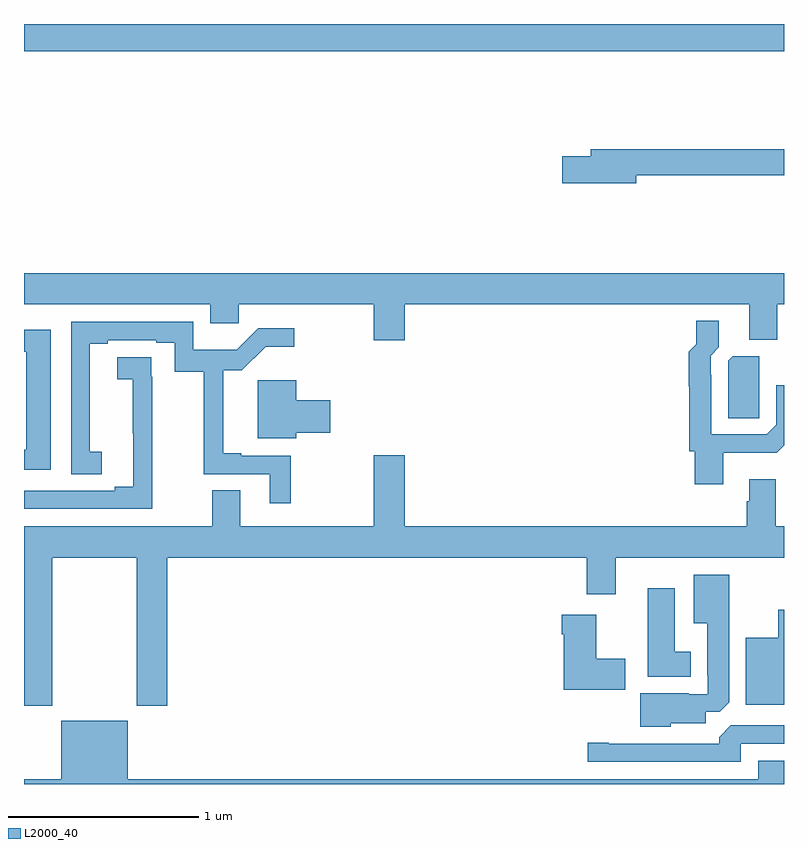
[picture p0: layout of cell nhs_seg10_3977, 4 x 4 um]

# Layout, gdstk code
import gdstk
lib = gdstk.Library(unit=1e-6, precision=1e-09)
def R(c, l, rs):  # rectangles x0, y0, x1, y1
    for r in rs: c.add(gdstk.rectangle(r[:2], r[2:], *l))
def P(c, l, *ps):  # polygons
    for p in ps: c.add(gdstk.Polygon(p, *l))
L2000_40 = (2000, 40)

nhs_seg10_3977 = lib.new_cell('nhs_seg10_3977')
R(nhs_seg10_3977, L2000_40, [(331,1260.356,335,1260.5)])
P(nhs_seg10_3977, L2000_40, [(334.222,1259.704),(335,1259.704),(335,1259.84),(333.983,1259.84),(333.983,1259.804),(333.834,1259.804),(333.834,1259.662),(334.222,1259.662)],
  [(333.004,1259.024),(334.817,1259.024),(334.817,1258.837),(334.965,1258.837),(334.965,1259.024),(335,1259.024),(335,1259.188),(331,1259.188),(331,1259.024),(331.979,1259.024),(331.979,1258.926),(332.131,1258.926),(332.131,1259.024),(332.84,1259.024),(332.84,1258.836),(333.004,1258.836)],
  [(334.681,1258.244),(334.961,1258.244),(335,1258.283),(335,1258.6),(334.959,1258.6),(334.959,1258.392),(334.908,1258.341),(334.617,1258.341),(334.617,1258.655),(334.614,1258.655),(334.614,1258.755),(334.657,1258.798),(334.657,1258.939),(334.537,1258.939),(334.537,1258.815),(334.499,1258.776),(334.499,1258.594),(334.501,1258.594),(334.501,1258.251),(334.529,1258.251),(334.529,1258.077),(334.681,1258.077)],
  [(332.404,1258.227),(332.143,1258.227),(332.143,1258.24),(332.048,1258.24),(332.048,1258.677),(332.147,1258.677),(332.273,1258.802),(332.422,1258.802),(332.422,1258.899),(332.232,1258.899),(332.119,1258.786),(331.89,1258.786),(331.89,1258.932),(331.248,1258.932),(331.248,1258.129),(331.408,1258.129),(331.408,1258.249),(331.347,1258.249),(331.347,1258.553),(331.345,1258.553),(331.345,1258.816),(331.441,1258.816),(331.441,1258.836),(331.697,1258.836),(331.697,1258.822),(331.794,1258.822),(331.794,1258.669),(331.945,1258.669),(331.945,1258.131),(332.294,1258.131),(332.294,1257.978),(332.404,1257.978)],
  [(331.141,1258.891),(331,1258.891),(331,1258.776),(331.013,1258.776),(331.013,1258.26),(331,1258.26),(331,1258.155),(331.141,1258.155)],
  [(334.869,1258.537),(334.87,1258.537),(334.87,1258.752),(334.731,1258.752),(334.707,1258.728),(334.707,1258.426),(334.869,1258.426)],
  [(331.676,1258.643),(331.67,1258.643),(331.67,1258.745),(331.491,1258.745),(331.491,1258.63),(331.573,1258.63),(331.573,1258.347),(331.574,1258.347),(331.574,1258.064),(331.478,1258.064),(331.478,1258.044),(331,1258.044),(331,1257.948),(331.676,1257.948)],
  [(332.434,1258.349),(332.611,1258.349),(332.611,1258.519),(332.434,1258.519),(332.434,1258.624),(332.231,1258.624),(332.231,1258.319),(332.434,1258.319)],
  [(331.149,1257.692),(331.594,1257.692),(331.594,1256.913),(331.754,1256.913),(331.754,1257.692),(333.962,1257.692),(333.962,1257.498),(334.114,1257.498),(334.114,1257.692),(335,1257.692),(335,1257.856),(334.957,1257.856),(334.957,1258.105),(334.817,1258.105),(334.817,1257.989),(334.805,1257.989),(334.805,1257.856),(333.004,1257.856),(333.004,1258.231),(332.84,1258.231),(332.84,1257.856),(332.137,1257.856),(332.137,1258.046),(331.99,1258.046),(331.99,1257.856),(331,1257.856),(331,1256.913),(331.149,1256.913)],
  [(334.404,1256.819),(334.588,1256.819),(334.588,1256.88),(334.662,1256.88),(334.711,1256.929),(334.711,1257.601),(334.526,1257.601),(334.526,1257.347),(334.595,1257.347),(334.595,1257.073),(334.599,1257.073),(334.599,1256.973),(334.499,1256.973),(334.499,1256.977),(334.244,1256.977),(334.244,1256.801),(334.404,1256.801)],
  [(334.51,1257.196),(334.426,1257.196),(334.426,1257.529),(334.283,1257.529),(334.283,1257.065),(334.51,1257.065)],
  [(335,1257.418),(334.97,1257.418),(334.97,1257.271),(334.799,1257.271),(334.799,1256.918),(335,1256.918)],
  [(334.165,1257.159),(334.012,1257.159),(334.012,1257.391),(333.83,1257.391),(333.83,1257.287),(333.842,1257.287),(333.842,1256.996),(334.165,1256.996)],
  [(335,1256.623),(334.865,1256.623),(334.865,1256.524),(331.546,1256.524),(331.546,1256.833),(331.196,1256.833),(331.196,1256.524),(331,1256.524),(331,1256.5),(335,1256.5)],
  [(334.773,1256.712),(335,1256.712),(335,1256.808),(334.719,1256.808),(334.658,1256.746),(334.658,1256.712),(334.078,1256.712),(334.078,1256.717),(333.966,1256.717),(333.966,1256.616),(334.773,1256.616)])

lib.write_gds('nhs_seg10_3977.gds')
